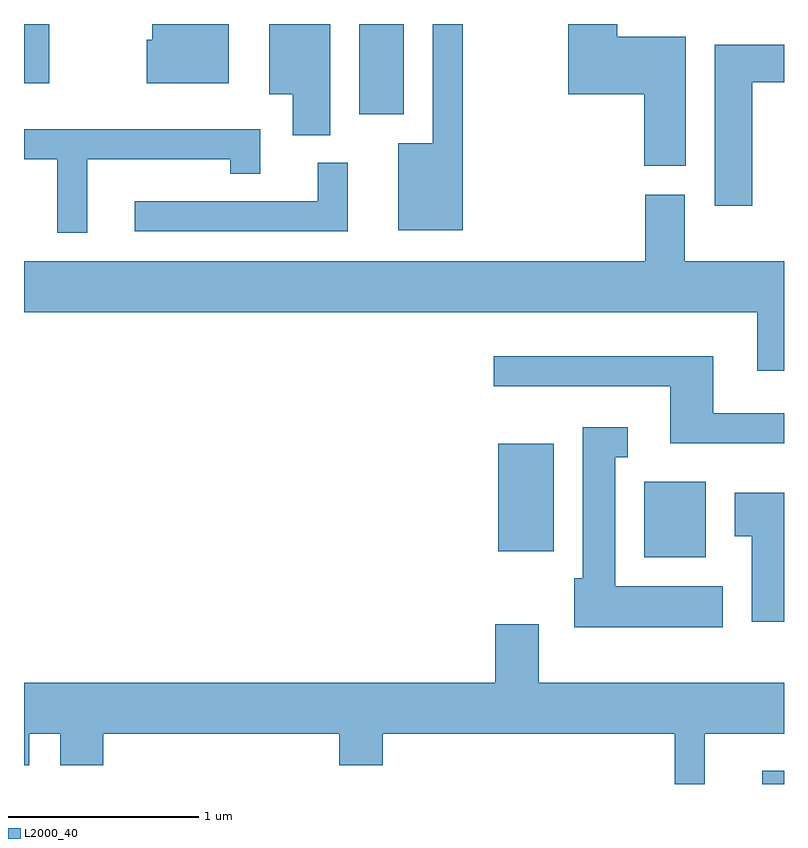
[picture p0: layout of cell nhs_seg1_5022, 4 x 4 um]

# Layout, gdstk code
import gdstk
lib = gdstk.Library(unit=1e-6, precision=1e-09)
def R(c, l, rs):  # rectangles x0, y0, x1, y1
    for r in rs: c.add(gdstk.rectangle(r[:2], r[2:], *l))
def P(c, l, *ps):  # polygons
    for p in ps: c.add(gdstk.Polygon(p, *l))
L2000_40 = (2000, 40)

nhs_seg1_5022 = lib.new_cell('nhs_seg1_5022')
R(nhs_seg1_5022, L2000_40, [(339.496,943.712,339.611,943.783), (338.876,944.906,339.199,945.304), (338.106,944.936,338.399,945.504), (337.376,947.236,337.609,947.712), (335.611,947.401,335.744,947.712)])
P(nhs_seg1_5022, L2000_40, [(336.689,947.712),(336.286,947.712),(336.286,947.629),(336.256,947.629),(336.256,947.401),(336.689,947.401)],
  [(337.224,947.712),(336.901,947.712),(336.901,947.341),(337.026,947.341),(337.026,947.126),(337.224,947.126)],
  [(337.919,947.712),(337.761,947.712),(337.761,947.084),(337.581,947.084),(337.581,946.626),(337.919,946.626)],
  [(339.094,947.644),(338.734,947.644),(338.734,947.712),(338.476,947.712),(338.476,947.341),(338.876,947.341),(338.876,946.966),(339.094,946.966)],
  [(339.444,947.406),(339.611,947.406),(339.611,947.604),(339.246,947.604),(339.246,946.756),(339.444,946.756)],
  [(335.944,947.001),(336.696,947.001),(336.696,946.923),(336.854,946.923),(336.854,947.159),(335.611,947.159),(335.611,947.001),(335.786,947.001),(335.786,946.613),(335.944,946.613)],
  [(337.314,946.983),(337.156,946.983),(337.156,946.779),(336.193,946.779),(336.193,946.621),(337.314,946.621)],
  [(339.611,946.464),(339.089,946.464),(339.089,946.814),(338.881,946.814),(338.881,946.464),(335.611,946.464),(335.611,946.196),(339.471,946.196),(339.471,945.886),(339.611,945.886)],
  [(339.611,945.664),(339.239,945.664),(339.239,945.964),(338.083,945.964),(338.083,945.806),(339.011,945.806),(339.011,945.506),(339.611,945.506)],
  [(339.289,944.754),(338.724,944.754),(338.724,945.431),(338.788,945.431),(338.788,945.589),(338.551,945.589),(338.551,944.794),(338.506,944.794),(338.506,944.536),(339.289,944.536)],
  [(339.611,945.244),(339.351,945.244),(339.351,945.016),(339.441,945.016),(339.441,944.566),(339.611,944.566)],
  [(339.194,943.976),(339.611,943.976),(339.611,944.244),(338.319,944.244),(338.319,944.554),(338.091,944.554),(338.091,944.244),(335.611,944.244),(335.611,943.811),(335.639,943.811),(335.639,943.976),(335.801,943.976),(335.801,943.811),(336.029,943.811),(336.029,943.976),(337.271,943.976),(337.271,943.811),(337.499,943.811),(337.499,943.976),(339.036,943.976),(339.036,943.712),(339.194,943.712)])

lib.write_gds('nhs_seg1_5022.gds')
